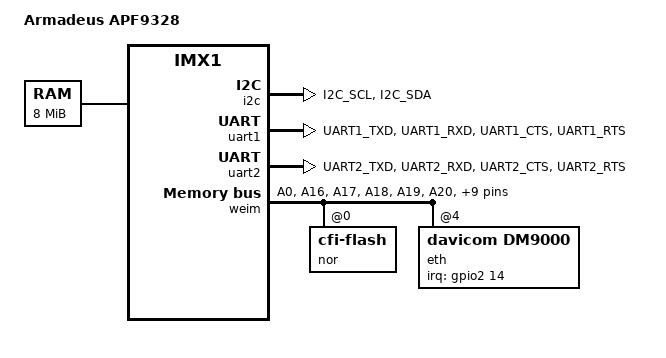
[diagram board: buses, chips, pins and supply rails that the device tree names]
// SPDX-License-Identifier: GPL-2.0-or-later
/*
 * Copyright (C) 2014 Alexander Shiyan <shc_work@mail.ru>
 */

/dts-v1/;
#include "imx1.dtsi"

/ {
	model = "Armadeus APF9328";
	compatible = "armadeus,imx1-apf9328", "fsl,imx1";

	chosen {
		stdout-path = &uart1;
	};

	memory@8000000 {
		device_type = "memory";
		reg = <0x08000000 0x00800000>;
	};
};

&i2c {
	pinctrl-names = "default";
	pinctrl-0 = <&pinctrl_i2c>;
	status = "okay";
};

&uart1 {
	pinctrl-names = "default";
	pinctrl-0 = <&pinctrl_uart1>;
	uart-has-rtscts;
	status = "okay";
};

&uart2 {
	pinctrl-names = "default";
	pinctrl-0 = <&pinctrl_uart2>;
	uart-has-rtscts;
	status = "okay";
};

&weim {
	pinctrl-names = "default";
	pinctrl-0 = <&pinctrl_weim>;
	status = "okay";

	nor: flash@0,0 {
		compatible = "cfi-flash";
		reg = <0 0x00000000 0x02000000>;
		bank-width = <2>;
		fsl,weim-cs-timing = <0x00330e04 0x00000d01>;
		#address-cells = <1>;
		#size-cells = <1>;
	};

	eth: ethernet@4,c00000 {
		pinctrl-names = "default";
		pinctrl-0 = <&pinctrl_eth>;
		compatible = "davicom,dm9000";
		reg = <4 0x00c00000 0x2>,
		      <4 0x00c00002 0x2>;
		interrupt-parent = <&gpio2>;
		interrupts = <14 IRQ_TYPE_LEVEL_LOW>;
		fsl,weim-cs-timing = <0x0000c700 0x19190d01>;
	};
};

&iomuxc {
	imx1-apf9328 {
		pinctrl_eth: ethgrp {
			fsl,pins = <
				MX1_PAD_SIM_SVEN__GPIO2_14	0x0
			>;
		};

		pinctrl_i2c: i2cgrp {
			fsl,pins = <
				MX1_PAD_I2C_SCL__I2C_SCL	0x0
				MX1_PAD_I2C_SDA__I2C_SDA	0x0
			>;
		};

		pinctrl_uart1: uart1grp {
			fsl,pins = <
				MX1_PAD_UART1_TXD__UART1_TXD	0x0
				MX1_PAD_UART1_RXD__UART1_RXD	0x0
				MX1_PAD_UART1_CTS__UART1_CTS	0x0
				MX1_PAD_UART1_RTS__UART1_RTS	0x0
			>;
		};

		pinctrl_uart2: uart2grp {
			fsl,pins = <
				MX1_PAD_UART2_TXD__UART2_TXD	0x0
				MX1_PAD_UART2_RXD__UART2_RXD	0x0
				MX1_PAD_UART2_CTS__UART2_CTS	0x0
				MX1_PAD_UART2_RTS__UART2_RTS	0x0
			>;
		};

		pinctrl_weim: weimgrp {
			fsl,pins = <
				MX1_PAD_A0__A0			0x0
				MX1_PAD_A16__A16		0x0
				MX1_PAD_A17__A17		0x0
				MX1_PAD_A18__A18		0x0
				MX1_PAD_A19__A19		0x0
				MX1_PAD_A20__A20		0x0
				MX1_PAD_A21__A21		0x0
				MX1_PAD_A22__A22		0x0
				MX1_PAD_A23__A23		0x0
				MX1_PAD_A24__A24		0x0
				MX1_PAD_BCLK__BCLK		0x0
				MX1_PAD_CS4__CS4		0x0
				MX1_PAD_DTACK__DTACK		0x0
				MX1_PAD_ECB__ECB		0x0
				MX1_PAD_LBA__LBA		0x0
			>;
		};
	};
};
